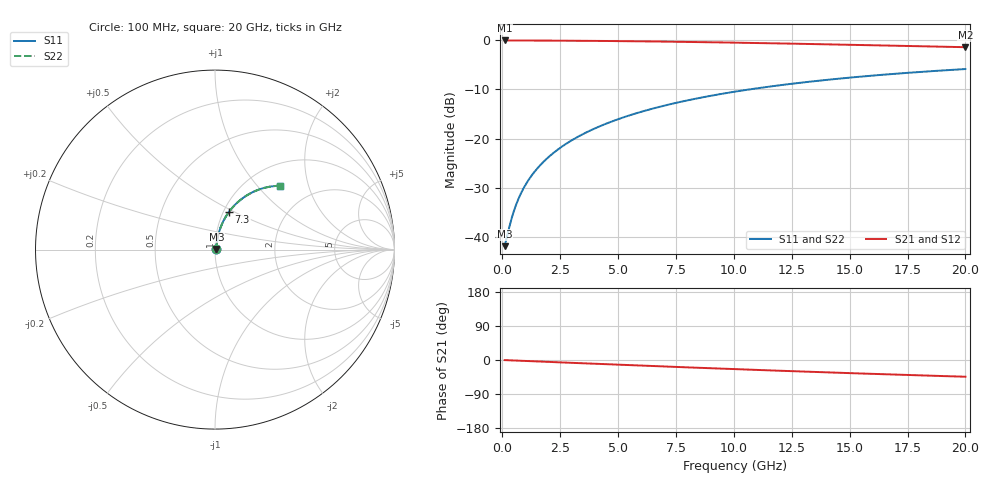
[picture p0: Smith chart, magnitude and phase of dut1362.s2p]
! Touchstone file exported from HFSS 2026.1.0
!  File:  C:/ffzhzh/LocalFiles/Ansys_Project_Files/temp_train_BSMRDL_1362_1783179197_55132.aedt
!  Generated:  11:34:35 PM Jul  4, 2026
!  Design:  BSMRDL
!  Project:  temp_train_BSMRDL_1362_1783179197_55132
! Variables:
!  h_bsmrdl = 2.14um
!  h_ox = 20um
!  h_rdl = 5um
!  h_sub = 80um
!  h_tmrdl = 5um
!  h_tsv = 80um
!  h_via = 3um
!  l_bsmrdl = 557.25um
!  l_sub = 957.25um
!  l_tmrdl = 200um
!  m_sub = 200um
!  pitch = 48.81um
!  r_tsv = 6um
!  s_tmrdl = 10um
!  w_bsmrdl = 12.77um
!  w_sub = 500um
!  w_tmrdl = 12um
!  x_tsv_center1 = 206um
!  x_tsv_center2 = 776.02um
!  x_tsv_center3 = 988.02um
!  x_tsv_center4 = 1558.04um
!  x_tsv_center5 = 1770.04um
!  x_tsv_center6 = 2340.06um
# GHz S MA R 50.000000
! Terminal data exported
! Port[1] = BSM_RDL1_1_T1
! Port[2] = BSM_RDL1_1_T2
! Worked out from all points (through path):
!   200 points, 100 MHz to 20 GHz, reference 50 ohm
!   highest |S21| = -0.06 dB at 100 MHz (marker M1); lowest = -1.4 dB at 20 GHz (marker M2)
!   group delay of S21, straight-line fit = 6.16 ps
!   lowest |S11| = -41.9 dB at 100 MHz (marker M3), VSWR 1.02, Z = 50.7 + j0.338 ohm
!   |S11| at or under -10 dB: start of sweep to 10.7 GHz
!   |S22| runs from -41.9 to -5.9 dB; largest |S21 - S12| = 4.1e-15
!   S11 on the Smith chart (normalised r, x): 100 MHz: 1.01, +0.01; 7.3 GHz: 1.06, +0.47; 20 GHz: 1.39, +1.34
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0.1  0.00806 24.4  0.9927 -0.3  0.9927 -0.3  0.00806 24.4
! Gamma 0 0 0 0
! Port Impedance 50 0 50 0
0.4  0.01534 59.5  0.9924 -1.0  0.9924 -1.0  0.01534 59.5
0.5  0.01832 64.1  0.9922 -1.3  0.9922 -1.3  0.01832 64.0
0.6  0.02136 67.2  0.992 -1.5  0.992 -1.5  0.02136 67.2
0.7  0.02445 69.4  0.9919 -1.8  0.9919 -1.8  0.02445 69.4
0.9  0.03065 72.4  0.9915 -2.3  0.9915 -2.3  0.03065 72.4
1.2  0.03999 74.9  0.9909 -3.0  0.9909 -3.0  0.03999 74.9
1.4  0.04621 75.9  0.9905 -3.5  0.9905 -3.5  0.04621 75.9
1.7  0.05556 76.8  0.9899 -4.3  0.9899 -4.3  0.05556 76.8
2.2  0.07114 77.4  0.9887 -5.5  0.9887 -5.5  0.07114 77.4
2.8  0.0898 77.3  0.987 -7.0  0.987 -7.0  0.0898 77.3
3.5  0.1115 76.6  0.9846 -8.7  0.9846 -8.7  0.1115 76.6
4.2  0.133 75.6  0.9818 -10.4  0.9818 -10.4  0.133 75.6
5  0.1572 74.2  0.9781 -12.3  0.9781 -12.3  0.1572 74.2
5.9  0.1841 72.5  0.9732 -14.5  0.9732 -14.5  0.1841 72.5
6.8  0.2104 70.7  0.9677 -16.6  0.9677 -16.6  0.2104 70.6
7.3  0.2247 69.6  0.9644 -17.8  0.9644 -17.8  0.2247 69.6
8.6  0.261 66.9  0.9549 -20.8  0.9549 -20.8  0.261 66.9
10.1  0.3009 63.7  0.9428 -24.2  0.9428 -24.2  0.301 63.7
13.4  0.3811 56.9  0.9128 -31.4  0.9128 -31.4  0.3811 56.9
16.7  0.4501 50.4  0.8804 -38.0  0.8804 -38.0  0.4501 50.4
20  0.5084 44.4  0.8479 -44.1  0.8479 -44.1  0.5085 44.4
